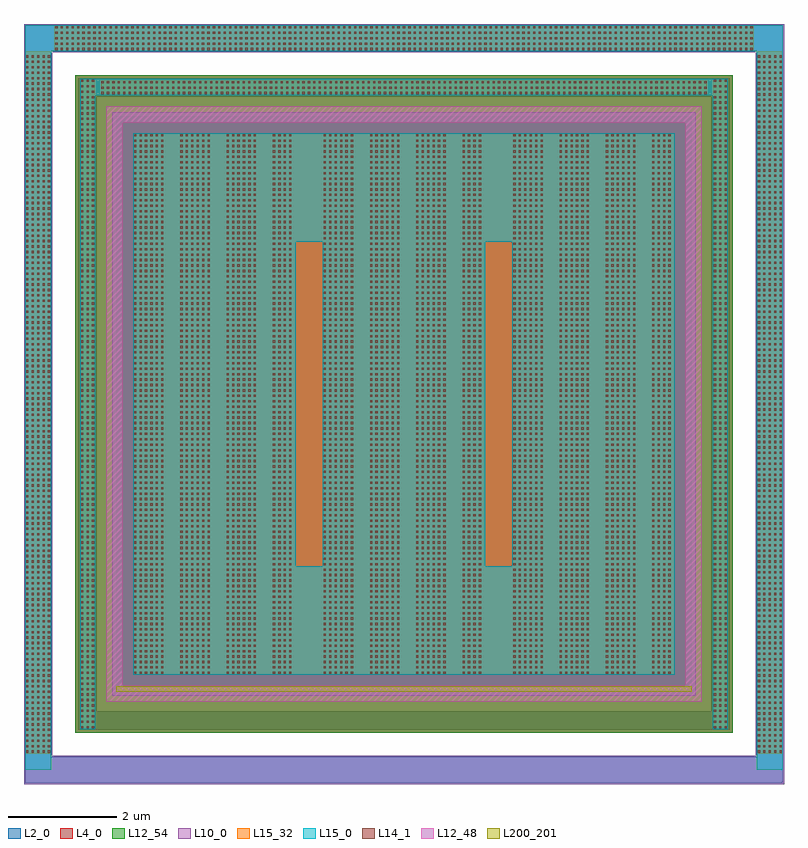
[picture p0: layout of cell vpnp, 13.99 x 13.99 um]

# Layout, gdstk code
import gdstk
lib = gdstk.Library(unit=1e-6, precision=1e-09)
def R(c, l, rs):  # rectangles x0, y0, x1, y1
    for r in rs: c.add(gdstk.rectangle(r[:2], r[2:], *l))
def A(c, l, x, y, w, h, nx, ny, dx, dy):  # array of equal rectangles
    R(c, l, [(x+i*dx, y+j*dy, x+i*dx+w, y+j*dy+h) for i in range(nx) for j in range(ny)])
L2_0 = (2, 0)
L4_0 = (4, 0)
L10_0 = (10, 0)
L12_48 = (12, 48)
L12_54 = (12, 54)
L14_1 = (14, 1)
L15_0 = (15, 0)
L15_32 = (15, 32)
L200_201 = (200, 201)

vpnp = lib.new_cell('vpnp')
R(vpnp, L2_0, [(-13.479,-5.509,0.473,-5.029), (-13.479,-5.029,-12.999,7.963), (-0.007,-5.029,0.473,7.963), (-12.499,-4.529,-0.507,-4.189), (-12.499,-4.189,-12.159,7.123), (-0.847,-4.189,-0.507,7.123), (-11.803,-3.833,-1.203,6.767), (-12.499,7.123,-0.507,7.463), (-13.479,7.963,0.473,8.443)])
R(vpnp, L4_0, [(-12.555,-4.585,-0.451,7.519)])
R(vpnp, L10_0, [(-13.5,-5.53,0.494,-5.008), (-13.5,-5.008,-12.978,7.942), (-0.028,-5.008,0.494,7.942), (-11.873,-3.903,-1.133,6.837), (-13.5,7.942,0.494,8.464)])
R(vpnp, L12_48, [(-11.984,-4.014,-1.022,-3.708), (-11.984,-3.708,-11.678,6.642), (-1.328,-3.708,-1.022,6.642), (-11.984,6.642,-1.022,6.948)])
R(vpnp, L12_54, [(-12.555,-4.585,-0.451,7.519)])
A(vpnp, L14_1, -13.459, -4.953, 0.04, 0.04, 5, 129, 0.1, 0.1)
A(vpnp, L14_1, 0.013, -4.953, 0.04, 0.04, 5, 129, 0.1, 0.1)
A(vpnp, L14_1, -12.449, -4.503, 0.04, 0.04, 3, 120, 0.1, 0.1)
A(vpnp, L14_1, -0.797, -4.503, 0.04, 0.04, 3, 120, 0.1, 0.1)
A(vpnp, L14_1, -11.473, -3.503, 0.04, 0.04, 6, 100, 0.1, 0.1)
A(vpnp, L14_1, -10.621, -3.503, 0.04, 0.04, 6, 100, 0.1, 0.1)
A(vpnp, L14_1, -9.769, -3.503, 0.04, 0.04, 6, 100, 0.1, 0.1)
A(vpnp, L14_1, -8.917, -3.503, 0.04, 0.04, 4, 100, 0.1, 0.1)
A(vpnp, L14_1, -7.981, -3.503, 0.04, 0.04, 6, 100, 0.1, 0.1)
A(vpnp, L14_1, -7.129, -3.503, 0.04, 0.04, 6, 100, 0.1, 0.1)
A(vpnp, L14_1, -6.277, -3.503, 0.04, 0.04, 6, 100, 0.1, 0.1)
A(vpnp, L14_1, -5.425, -3.503, 0.04, 0.04, 4, 100, 0.1, 0.1)
A(vpnp, L14_1, -4.489, -3.503, 0.04, 0.04, 6, 100, 0.1, 0.1)
A(vpnp, L14_1, -3.637, -3.503, 0.04, 0.04, 6, 100, 0.1, 0.1)
A(vpnp, L14_1, -2.785, -3.503, 0.04, 0.04, 6, 100, 0.1, 0.1)
A(vpnp, L14_1, -1.933, -3.503, 0.04, 0.04, 4, 100, 0.1, 0.1)
A(vpnp, L14_1, -12.073, 7.173, 0.04, 0.04, 112, 3, 0.1, 0.1)
A(vpnp, L14_1, -12.923, 7.983, 0.04, 0.04, 129, 5, 0.1, 0.1)
A(vpnp, L15_0, -11.491, -1.521, 2.992, 5.976, 3, 1, 3.492, 0)
R(vpnp, L15_0, [(-13.477,-5.269,-13.001,8.441), (-0.005,-5.269,0.471,8.441), (-12.467,-4.521,-12.191,7.455), (-0.815,-4.521,-0.539,7.455), (-11.491,-3.521,-1.515,-1.521), (-11.491,4.455,-1.515,6.455), (-12.191,7.155,-0.815,7.455), (-13.001,7.965,-0.005,8.441)])
R(vpnp, L15_32, [(-13.477,-4.971,-13.001,7.965), (-0.005,-4.971,0.471,7.965), (-12.467,-4.521,-12.191,7.455), (-0.815,-4.521,-0.539,7.455), (-11.491,-3.521,-1.515,6.455), (-12.091,7.155,-0.915,7.431), (-12.941,7.965,-0.065,8.441)])
R(vpnp, L200_201, [(-11.803,-3.833,-1.203,-3.733)])

lib.write_gds('vpnp.gds')
